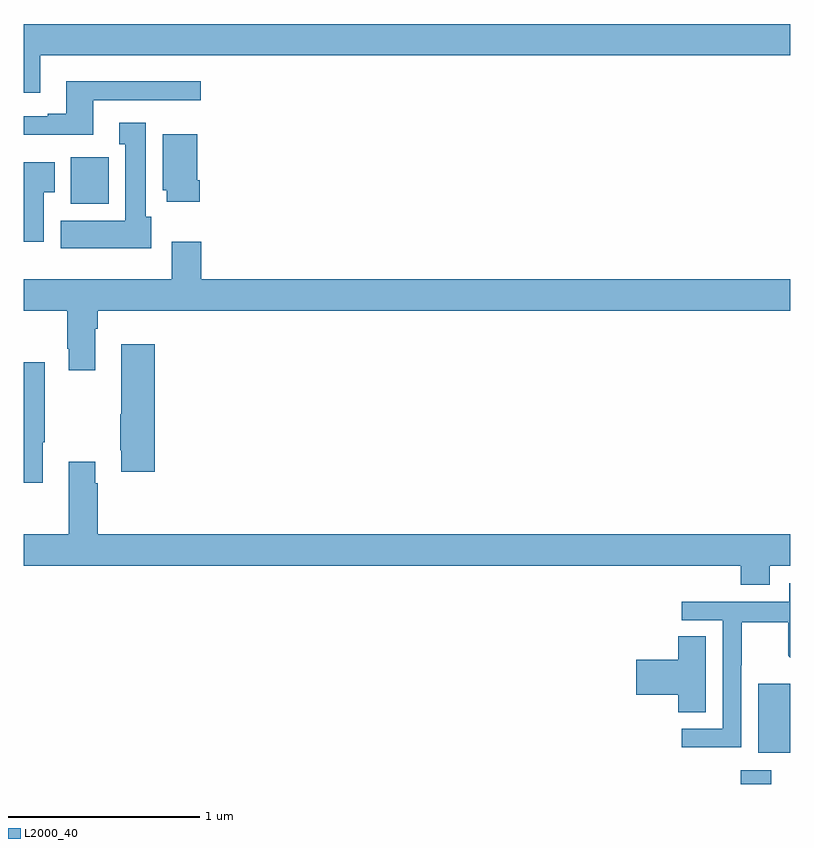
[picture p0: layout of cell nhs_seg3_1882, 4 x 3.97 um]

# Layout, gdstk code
import gdstk
lib = gdstk.Library(unit=1e-6, precision=1e-09)
def R(c, l, rs):  # rectangles x0, y0, x1, y1
    for r in rs: c.add(gdstk.rectangle(r[:2], r[2:], *l))
def P(c, l, *ps):  # polygons
    for p in ps: c.add(gdstk.Polygon(p, *l))
L2000_40 = (2000, 40)

nhs_seg3_1882 = lib.new_cell('nhs_seg3_1882')
R(nhs_seg3_1882, L2000_40, [(210.743,742.4,210.903,742.471), (210.833,742.562,211,742.923), (207.245,745.43,207.442,745.672)])
P(nhs_seg3_1882, L2000_40, [(207.085,746.204),(211,746.204),(211,746.368),(207,746.368),(207,746.01),(207.085,746.01)],
  [(207.361,745.971),(207.922,745.971),(207.922,746.068),(207.221,746.068),(207.221,745.9),(207.125,745.9),(207.125,745.887),(207,745.887),(207,745.79),(207.361,745.79)],
  [(207.664,745.362),(207.637,745.362),(207.637,745.852),(207.497,745.852),(207.497,745.739),(207.53,745.739),(207.53,745.342),(207.191,745.342),(207.191,745.196),(207.664,745.196)],
  [(207.917,745.552),(207.904,745.552),(207.904,745.792),(207.725,745.792),(207.725,745.5),(207.746,745.5),(207.746,745.44),(207.917,745.44)],
  [(207.103,745.489),(207.16,745.489),(207.16,745.645),(207,745.645),(207,745.23),(207.103,745.23)],
  [(207.373,744.776),(207.386,744.776),(207.386,744.872),(211,744.872),(211,745.036),(207.926,745.036),(207.926,745.231),(207.773,745.231),(207.773,745.036),(207,745.036),(207,744.872),(207.226,744.872),(207.226,744.673),(207.233,744.673),(207.233,744.561),(207.373,744.561)],
  [(207.682,744.697),(207.509,744.697),(207.509,744.331),(207.502,744.331),(207.502,744.142),(207.509,744.142),(207.509,744.03),(207.682,744.03)],
  [(207.097,744.185),(207.109,744.185),(207.109,744.601),(207,744.601),(207,743.973),(207.097,743.973)],
  [(210.895,743.54),(211,743.54),(211,743.704),(207.386,743.704),(207.386,743.969),(207.373,743.969),(207.373,744.082),(207.233,744.082),(207.233,743.704),(207,743.704),(207,743.54),(210.743,743.54),(210.743,743.441),(210.895,743.441)],
  [(210.744,743.02),(210.747,743.02),(210.747,743.244),(210.991,743.244),(210.991,743.069),(211,743.06),(211,743.449),(210.996,743.449),(210.996,743.352),(210.435,743.352),(210.435,743.256),(210.648,743.256),(210.648,742.689),(210.435,742.689),(210.435,742.591),(210.744,742.591)],
  [(210.559,743.171),(210.416,743.171),(210.416,743.048),(210.198,743.048),(210.198,742.865),(210.416,742.865),(210.416,742.774),(210.559,742.774)])

lib.write_gds('nhs_seg3_1882.gds')
